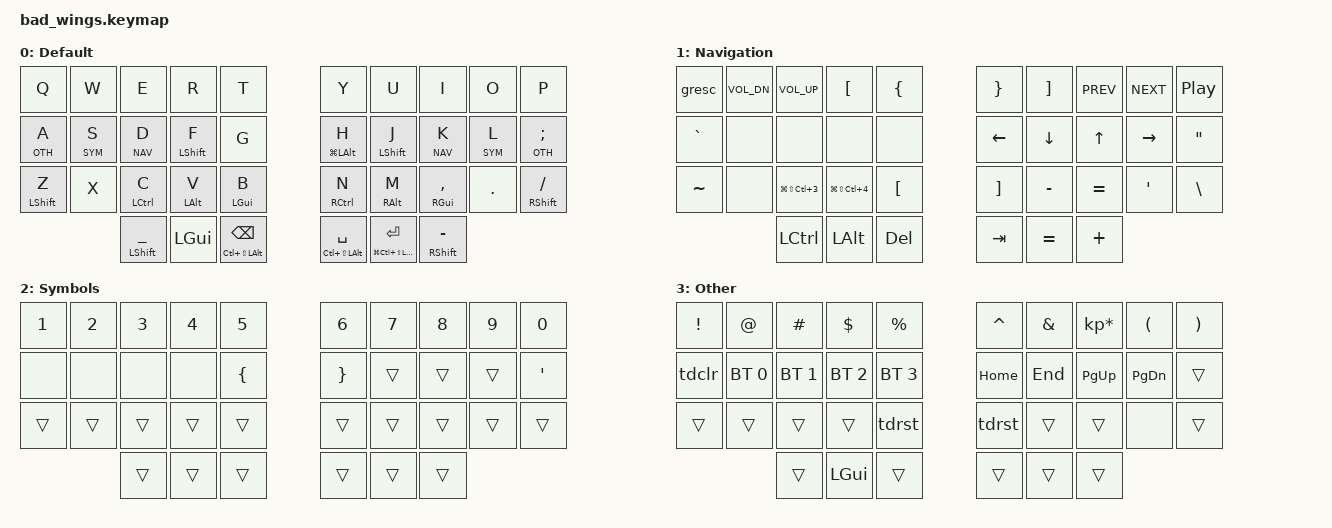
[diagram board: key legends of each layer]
/*
 * Copyright (c) 2022 The ZMK Contributors
 *
 * SPDX-License-Identifier: MIT
 */

#include <behaviors.dtsi>
#include <dt-bindings/zmk/keys.h>
#include <dt-bindings/zmk/bt.h>
#include <dt-bindings/zmk/outputs.h>

#define DEFAULT 0
#define NAV     1
#define SYM     2
#define OTH     3

#define TAPPING_TERM 200
#define QUICK_TAP    100

&lt {
	flavor = "tap-preferred";
	tapping-term-ms = <TAPPING_TERM>;
    quick-tap-ms = <QUICK_TAP>;
};

&mt {
	flavor = "tap-preferred";
	tapping-term-ms = <TAPPING_TERM>;
    quick-tap-ms = <QUICK_TAP>;
};
&caps_word {
    continue-list = <UNDERSCORE MINUS>;
};

/ {
    behaviors {
        q_tab: q_tab {
            compatible = "zmk,behavior-mod-morph";
            label = "q_tab";
            #binding-cells = <0>;
            bindings = <&kp Q>, <&kp TAB>;
            mods = <(MOD_LGUI|MOD_RGUI)>;
            keep-mods = <(MOD_LGUI)>;

        };
    };
};

/ {
    combos {
        compatible = "zmk,combos";
        combo_undo {
            timeout-ms = <50>;
            key-positions = <20 21>;
            bindings = <&kp LC(Z)>;
        };
        combo_q {
            timeout-ms = <50>;
            key-positions = <21 22>;
            bindings = <&kp Q>;
        };
        combo_semicolon {
            timeout-ms = <50>;
            key-positions = <27 28>;
            bindings = <&kp SEMI>;
        };
    };
};

/ {

    behaviors {
        hm: layer_mods {
            compatible = "zmk,behavior-hold-tap";
            label = "LAYER_MODS";
            #binding-cells = <2>;
            tapping-term-ms = <250>;
            quick_tap_ms = <0>;
            flavor = "tap-preferred";
            bindings = <&kp>, <&kp>;
        };
        hs: homerow_shift {
            compatible = "zmk,behavior-hold-tap";
            label = "HOMEROW_SHIFT";
            #binding-cells = <2>;
            tapping-term-ms = <250>;
            quick_tap_ms = <0>;
            flavor = "tap-preferred";
            bindings = <&kp>, <&kp>;
        };
        tdg: tap_dance_g {
            compatible = "zmk,behavior-tap-dance";
            label = "TAP_DANCE_G";
            #binding-cells = <0>;
            tapping-term-ms = <QUICK_TAP>;
            bindings = <&kp G>, <&caps_word>;
        };
        tdh: tap_dance_h {
            compatible = "zmk,behavior-tap-dance";
            label = "TAP_DANCE_M";
            #binding-cells = <0>;
            tapping-term-ms = <QUICK_TAP>;
            bindings = <&kp H>, <&caps_word>;
        };
        tdclr: tap_dance_0 {
            compatible = "zmk,behavior-tap-dance";
            label = "TAP_DANCE_0";
            #binding-cells = <0>;
            tapping-term-ms = <200>;
            bindings = <&none>, <&bt BT_CLR>;
        };
        tdrst: tap_dance_1 {
            compatible = "zmk,behavior-tap-dance";
            label = "TAP_DANCE_0";
            #binding-cells = <0>;
            tapping-term-ms = <200>;
            bindings = <&none>, <&bootloader>;
        };
    };


    keymap {
        compatible = "zmk,keymap";

        default_layer {
            label = "Default";

            bindings = <
//╭──────────┬──────────┬──────────┬──────────┬──────────╮               ╭──────────┬──────────┬──────────┬──────────┬──────────╮
    &kp Q       &kp W       &kp E     &kp R      &kp T                      &kp Y      &kp U       &kp I       &kp O    &kp P
//├──────────┼──────────┼──────────┼──────────┼──────────┤               ├──────────┼──────────┼──────────┼──────────┼──────────┤
   &lt OTH A  &lt SYM S   &lt NAV D &hs LSHIFT F  &kp G              &mt LG(LALT) H  &hs LSHIFT J &lt NAV K &lt SYM L &lt OTH SEMI
//├──────────┼──────────┼──────────┼──────────┼──────────┤               ├──────────┼──────────┼──────────┼──────────┼──────────┤
&mt LSHIFT Z       &kp X     &mt LCTL C &mt LALT V &mt LGUI B              &mt RCTL N &mt RALT M &mt RGUI COMMA &kp DOT   &mt RSHIFT FSLH
//╰──────────┴──────────┴──────────┼──────────┼──────────╯               ╰─────────┼───────────┼──────────┼──────────┼──────────╯
   &mt LSHIFT UNDER      &kp LGUI    &mt LC(LS(LALT)) BSPC        &mt LC(LS(LALT)) SPACE &mt LG(LC(LS(LALT))) ENTER  &mt RSHIFT MINUS
//                     ╰───────────┴───────────┴─────────────╯       ╰───────────────────┴───────────────┴───────────────╯
            >;
        };

        nav_layer {
            label = "Navigation";

            bindings = <
//╭──────────┬──────────┬──────────┬──────────┬──────────╮               ╭──────────┬──────────┬──────────┬──────────┬──────────╮
    &gresc  &kp C_VOL_DN  &kp C_VOL_UP &kp LBKT   &kp LBRC                &kp RBRC   &kp RBKT   &kp C_PREV &kp C_NEXT &kp C_PLAY_PAUSE
//├──────────┼──────────┼──────────┼──────────┼──────────┤               ├──────────┼──────────┼──────────┼──────────┼──────────┤
    &kp GRAVE   &none      &none      &none       &none                    &kp LEFT   &kp DOWN    &kp UP   &kp RIGHT   &kp DQT
//├──────────┼──────────┼──────────┼──────────┼──────────┤               ├──────────┼──────────┼──────────┼──────────┼──────────┤
   &kp TILDE   &none &kp LG(LS(LC(N3))) &kp LG(LS(LC(N4))) &kp LBKT            &kp RBKT  &kp MINUS  &kp EQUAL   &kp SQT   &kp BSLH
//╰──────────┴──────────┴──────────┼──────────┼──────────╯               ╰─────────┼───────────┼──────────┼──────────┼──────────╯
                  &kp LCTL        &kp LALT       &kp DELETE                  &kp TAB         &kp EQUAL        &kp PLUS
//                     ╰───────────┴───────────┴─────────────╯       ╰───────────────────┴───────────────┴───────────────╯
               >;
        };

        sym_layer {
            label = "Symbols";

            bindings = <
//╭──────────┬──────────┬──────────┬──────────┬──────────╮               ╭──────────┬──────────┬──────────┬──────────┬──────────╮
     &kp N1     &kp N2     &kp N3     &kp N4     &kp N5       &kp N6     &kp N7     &kp N8     &kp N9     &kp N0
//├──────────┼──────────┼──────────┼──────────┼──────────┤               ├──────────┼──────────┼──────────┼──────────┼──────────┤
    &none       &none      &none      &none     &kp LBRC                   &kp RBRC   &trans     &trans     &trans     &kp SQT
//├──────────┼──────────┼──────────┼──────────┼──────────┤               ├──────────┼──────────┼──────────┼──────────┼──────────┤
    &trans   &trans &trans   &trans     &trans         &trans    &trans    &trans          &trans    &trans
//╰──────────┴──────────┴──────────┼──────────┼──────────╯               ╰─────────┼───────────┼──────────┼──────────┼──────────╯
            &trans        &trans       &trans          &trans &trans &trans
//                     ╰───────────┴───────────┴─────────────╯       ╰───────────────────┴───────────────┴───────────────╯
                >;
        };
        oth_layer {
            label = "Other";

            bindings = <
//╭──────────┬──────────┬──────────┬──────────┬──────────╮               ╭──────────┬──────────┬──────────┬──────────┬──────────╮
     &kp EXCL &kp AT &kp HASH &kp DOLLAR &kp PRCNT    &kp CARET &kp AMPS  &kp KP_MULTIPLY &kp LPAR  &kp RPAR
//├──────────┼──────────┼──────────┼──────────┼──────────┤               ├──────────┼──────────┼──────────┼──────────┼──────────┤
  &tdclr &bt BT_SEL 0 &bt BT_SEL 1 &bt BT_SEL 2 &bt BT_SEL 3                     &kp HOME    &kp END  &kp PG_UP &kp PG_DN &trans 
//├──────────┼──────────┼──────────┼──────────┼──────────┤               ├──────────┼──────────┼──────────┼──────────┼──────────┤
   &trans &trans  &trans  &trans  &tdrst &tdrst &trans  &trans  &none &trans 
//╰──────────┴──────────┴──────────┼──────────┼──────────╯               ╰─────────┼───────────┼──────────┼──────────┼──────────╯
            &trans    &kp LGUI  &trans        &trans &trans &trans
//                     ╰───────────┴───────────┴─────────────╯       ╰───────────────────┴───────────────┴───────────────╯
                >;
        };
    };
};
